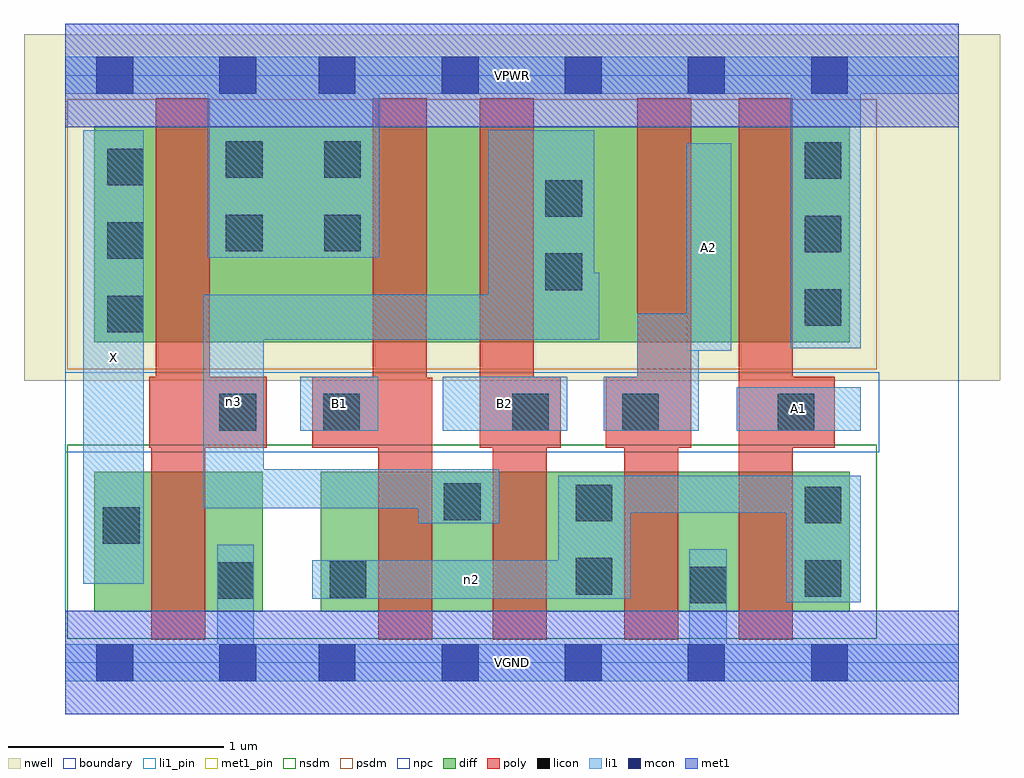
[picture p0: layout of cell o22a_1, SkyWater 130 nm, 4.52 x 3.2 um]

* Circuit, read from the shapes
.subckt o22a_1 A1 A2 B1 B2 VGND VPWR X n2 n3
XM1 VGND n3 X VSUBS sky130_fd_pr__nfet_01v8 w=0.65 l=0.25
XM2 n3 B1 n2 VSUBS sky130_fd_pr__nfet_01v8 w=0.65 l=0.25
XM3 n2 B2 n3 VSUBS sky130_fd_pr__nfet_01v8 w=0.65 l=0.25
XM4 VGND A2 n2 VSUBS sky130_fd_pr__nfet_01v8 w=0.65 l=0.25
XM5 n2 A1 VGND VSUBS sky130_fd_pr__nfet_01v8 w=0.65 l=0.25
XM6 VPWR n3 X n1 sky130_fd_pr__pfet_01v8 w=1 l=0.25
XM7 n4 B1 VPWR n1 sky130_fd_pr__pfet_01v8 w=1 l=0.25
XM8 n3 B2 n4 n1 sky130_fd_pr__pfet_01v8 w=1 l=0.25
XM9 n5 A2 n3 n1 sky130_fd_pr__pfet_01v8 w=1 l=0.25
XM10 VPWR A1 n5 n1 sky130_fd_pr__pfet_01v8 w=1 l=0.25
.ends

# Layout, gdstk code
import gdstk
lib = gdstk.Library(unit=1e-6, precision=1e-09)
def R(c, l, rs):  # rectangles x0, y0, x1, y1
    for r in rs: c.add(gdstk.rectangle(r[:2], r[2:], *l))
def A(c, l, x, y, w, h, nx, ny, dx, dy):  # array of equal rectangles
    R(c, l, [(x+i*dx, y+j*dy, x+i*dx+w, y+j*dy+h) for i in range(nx) for j in range(ny)])
nwell = (64, 20)
diff = (65, 20)
poly = (66, 20)
licon = (66, 44)
li1_pin = (67, 16)
li1 = (67, 20)
mcon = (67, 44)
met1_pin = (68, 16)
met1 = (68, 20)
nsdm = (93, 44)
psdm = (94, 20)
npc = (95, 20)
boundary = (235, 4)

o22a_1 = lib.new_cell('o22a_1')
R(o22a_1, nwell, [(-0.19,1.305,4.33,2.91), (0,1.305,4.14,2.91)])
R(o22a_1, diff, [(0.135,0.235,0.915,0.885), (1.185,0.235,3.635,0.885), (0.135,1.485,3.635,2.485)])
R(o22a_1, poly, [(0.4,0.105,0.65,1.325), (1.45,0.105,1.7,1.32), (1.98,0.105,2.23,1.325), (2.59,0.105,2.84,1.325), (3.12,0.105,3.37,2.615), (0.39,0.995,0.935,1.325), (0.42,0.995,0.67,2.615), (1.145,0.995,1.675,1.325), (1.425,0.995,1.675,2.615), (1.92,0.995,2.17,2.615), (1.92,0.995,2.295,1.325), (2.505,0.995,2.9,1.325), (2.65,0.995,2.9,2.615), (3.12,0.995,3.565,1.325)])
A(o22a_1, licon, 0.195, 1.53, 0.17, 0.17, 1, 3, 0, 0.34)
A(o22a_1, licon, 3.425, 1.56, 0.17, 0.17, 1, 3, 0, 0.34)
R(o22a_1, licon, [(2.895,0.275,3.065,0.445), (0.705,0.295,0.875,0.465), (1.225,0.3,1.395,0.47), (3.425,0.305,3.595,0.475), (2.365,0.315,2.535,0.485), (0.175,0.55,0.345,0.72), (3.425,0.645,3.595,0.815), (2.365,0.655,2.535,0.825), (1.755,0.66,1.925,0.83), (0.715,1.075,0.885,1.245), (1.195,1.075,1.365,1.245), (2.07,1.075,2.24,1.245), (2.58,1.075,2.75,1.245), (3.3,1.075,3.47,1.245), (2.225,1.725,2.395,1.895), (0.745,1.905,0.915,2.075), (1.2,1.905,1.37,2.075), (2.225,2.065,2.395,2.235), (0.745,2.245,0.915,2.415), (1.2,2.245,1.37,2.415)])
R(o22a_1, li1_pin, [(0.085,0.365,0.365,2.465), (1.09,1.075,1.45,1.325), (1.75,1.075,2.325,1.325), (3.11,1.075,3.685,1.275), (2.88,1.445,3.085,2.405)])
R(o22a_1, li1, [(0,-0.085,4.14,0.085), (0.705,-0.085,0.875,0.545), (2.89,-0.085,3.065,0.525), (3.34,0.28,3.685,0.865), (1.145,0.295,2.62,0.475), (2.285,0.295,2.62,0.865), (0.085,0.365,0.365,2.465), (1.635,0.645,2.01,0.895), (2.285,0.695,3.685,0.865), (0.64,0.715,0.92,1.705), (0.64,0.715,2.01,0.895), (1.09,1.075,1.45,1.325), (1.75,1.075,2.325,1.325), (2.495,1.075,2.935,1.325), (2.65,1.075,2.935,1.615), (3.11,1.075,3.685,1.275), (2.88,1.445,3.085,2.405), (3.36,1.455,3.685,2.805), (0.64,1.495,2.475,1.705), (1.96,1.495,2.45,2.465), (1.96,1.495,2.475,1.805), (0.66,1.875,1.455,2.805), (0,2.635,4.14,2.805)])
A(o22a_1, mcon, 1.175, -0.085, 0.17, 0.17, 5, 2, 0.57, 2.72)
R(o22a_1, mcon, [(0.145,-0.085,0.315,0.085), (0.715,-0.085,0.885,0.085), (0.145,2.635,0.315,2.805), (0.715,2.635,0.885,2.805)])
R(o22a_1, met1_pin, [(0,-0.24,4.14,0.24), (0,2.48,4.14,2.96)])
R(o22a_1, met1, [(0,-0.24,4.14,0.24), (0,2.48,4.14,2.96)])
R(o22a_1, nsdm, [(0.01,0.11,3.76,1.01)])
R(o22a_1, psdm, [(0.01,1.36,3.76,2.61)])
R(o22a_1, npc, [(0,0.975,3.77,1.345)])
R(o22a_1, boundary, [(0,0,4.14,2.72)])
o22a_1.add(gdstk.Label('A1', (3.397,1.175), layer=67, texttype=5))
o22a_1.add(gdstk.Label('A2', (2.982,1.925), layer=67, texttype=5))
o22a_1.add(gdstk.Label('B1', (1.27,1.2), layer=67, texttype=5))
o22a_1.add(gdstk.Label('B2', (2.037,1.2), layer=67, texttype=5))
o22a_1.add(gdstk.Label('X', (0.225,1.415), layer=67, texttype=5))
o22a_1.add(gdstk.Label('n2', (1.882,0.385), layer=67, texttype=5))
o22a_1.add(gdstk.Label('n3', (0.78,1.21), layer=67, texttype=5))
o22a_1.add(gdstk.Label('VPWR', (2.07,2.72), layer=68, texttype=5))
o22a_1.add(gdstk.Label('VGND', (2.07,0), layer=68, texttype=5))
o22a_1.add(gdstk.Label('A1', (3.397,1.175), layer=67, texttype=16))
o22a_1.add(gdstk.Label('A2', (2.982,1.925), layer=67, texttype=16))
o22a_1.add(gdstk.Label('B1', (1.27,1.2), layer=67, texttype=16))
o22a_1.add(gdstk.Label('B2', (2.037,1.2), layer=67, texttype=16))
o22a_1.add(gdstk.Label('X', (0.225,1.415), layer=67, texttype=16))
o22a_1.add(gdstk.Label('VPWR', (2.07,2.72), layer=68, texttype=16))
o22a_1.add(gdstk.Label('VGND', (2.07,0), layer=68, texttype=16))

lib.write_gds('o22a_1.gds')
